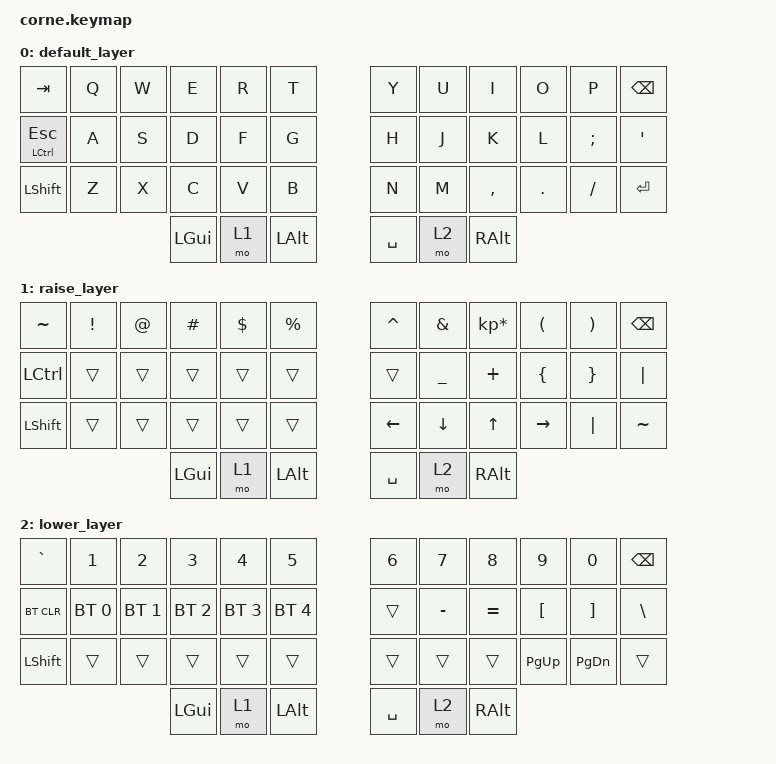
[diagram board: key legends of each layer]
/*
 * Copyright (c) 2020 The ZMK Contributors
 *
 * SPDX-License-Identifier: MIT
 */

#include <behaviors.dtsi>
#include <dt-bindings/zmk/keys.h>
#include <dt-bindings/zmk/bt.h>

/ {
        keymap {
                compatible = "zmk,keymap";

                default_layer {
// -----------------------------------------------------------------------------------------
// |  TAB |  Q  |  W  |  E   |  R  |  T  |   |  Y  |  U   |  I  |  O  |  P  | BKSP |
// | ESC CTRL  |  A  |  S  |  D   |  F  |  G  |   |  H  |  J   |  K  |  L  |  ;  |  '   |
// | SHFT |  Z  |  X  |  C   |  V  |  B  |   |  N  |  M   |  ,  |  .  |  /  | RET  |
//                    | CTRL | LWR | GUI |   | SPC | RSE  | ALT |
                        bindings = <
   &kp TAB       &kp Q &kp W    &kp E     &kp R &kp T &kp Y &kp U &kp I     &kp O   &kp P    &kp BSPC
   &mt LCTRL ESC &kp A &kp S    &kp D     &kp F &kp G &kp H &kp J &kp K     &kp L   &kp SEMI &kp SQT
   &kp LSHFT     &kp Z &kp X    &kp C     &kp V &kp B &kp N &kp M &kp COMMA &kp DOT &kp FSLH &kp RET
   &kp LGUI      &mo 1 &kp LALT &kp SPACE &mo 2 &kp RALT
                        >;
                };
                raise_layer {
// -----------------------------------------------------------------------------------------
// |  ~   |  !  |  @  |  #  |  $  |  %  |   |  ^  |  &  |  *  |  (   |  )  | BKSP |
// | CTRL |     |     |     |     |     |   |     |  _  |  +  |  {   |  }  | "|"  |
// | SHFT |     |     |     |     |     |   | LFT | DWN | UP  | RGHT |     |      |
//                    | GUI |     | SPC |   | SPC |     | ALT |
                        bindings = <
   &kp TILDE &kp EXCL &kp AT    &kp HASH &kp DLLR &kp PRCNT &kp CARET &kp AMPS  &kp KP_MULTIPLY &kp LPAR  &kp RPAR &kp BSPC
   &kp LCTRL &trans   &trans    &trans   &trans   &trans    &trans    &kp UNDER &kp PLUS        &kp LBRC  &kp RBRC &kp PIPE
   &kp LSHFT &trans   &trans    &trans   &trans   &trans    &kp LEFT  &kp DOWN  &kp UP          &kp RIGHT &kp PIPE &kp TILDE
   &kp LGUI  &mo 1 &kp LALT &kp SPACE &mo 2 &kp RALT
                        >;
                };
                lower_layer {
// -----------------------------------------------------------------------------------------
// |  `   |  1  |  2  |  3  |  4  |  5  |   |  6  |  7  |  8  |  9  |  0  | BKSP |
// | BTCLR| BT1 | BT2 | BT3 | BT4 | BT5 |   |     |  -  |  =  |  [  |  ]  | "|" |
// | SHFT |     |     |     |     |     |   |     |     |     |  PG_UP  |  PG_DN   |      |
//                    | GUI |     | SPC |   | SPC |     | ALT |
                        bindings = <
   &kp GRAVE  &kp N1       &kp N2       &kp N3       &kp N4       &kp N5       &kp N6 &kp N7    &kp N8    &kp N9    &kp N0    &kp BSPC
   &bt BT_CLR &bt BT_SEL 0 &bt BT_SEL 1 &bt BT_SEL 2 &bt BT_SEL 3 &bt BT_SEL 4 &trans &kp MINUS &kp EQUAL &kp LBKT  &kp RBKT  &kp BSLH
   &kp LSHFT  &trans       &trans       &trans       &trans       &trans       &trans &trans    &trans    &kp PG_UP &kp PG_DN &trans
   &kp LGUI  &mo 1 &kp LALT &kp SPACE &mo 2 &kp RALT
                        >;
                };
        };
};
